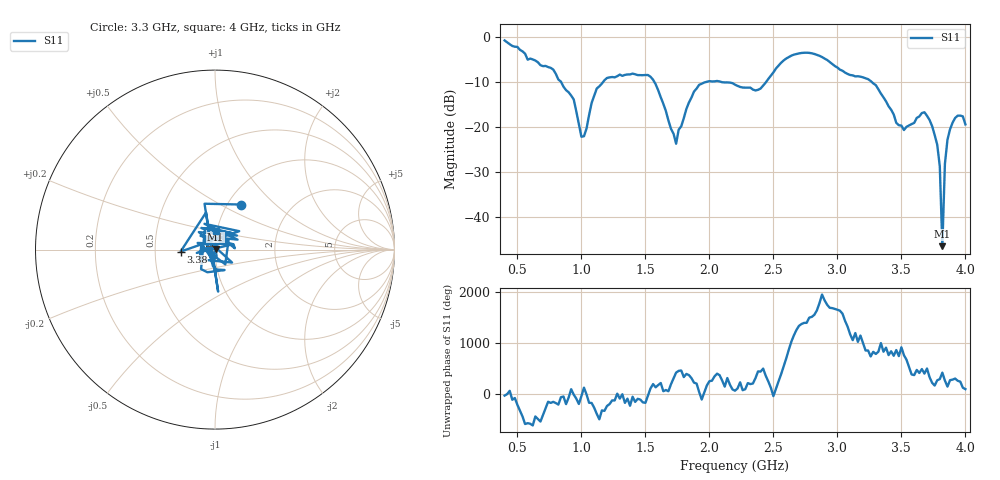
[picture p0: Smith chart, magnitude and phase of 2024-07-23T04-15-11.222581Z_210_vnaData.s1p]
!Created with skrf (http://scikit-rf.org).
# Hz S RI R 50.0
!freq ReS11 ImS11
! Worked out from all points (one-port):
!   181 points, 400 MHz to 4 GHz, reference 50 ohm
!   lowest |S11| = -46.6 dB at 3.82 GHz (marker M1), VSWR 1.01, Z = 50.3 + j0.37 ohm
!   |S11| at or under -10 dB: 1.57 GHz to 1.977 GHz (407.6 MHz wide, 23 % of centre); 2.092 GHz to 2.444 GHz (351.9 MHz wide, 15.5 % of centre); 3.268 GHz to end of sweep (the widest 3 of 4)
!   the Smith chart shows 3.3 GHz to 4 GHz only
!   S11 on the Smith chart (normalised r, x): 3.3 GHz: 1.16, +0.64; 3.38 GHz: 0.68, -0.02; 4 GHz: 0.99, +0.21
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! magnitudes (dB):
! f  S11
! 400 MHz  -0.8
! 780 MHz  -7.3
! 860 MHz  -11.1
! 940 MHz  -13.9
! 1 GHz  -22.2
! 1.02 GHz  -22.1
! 1.12 GHz  -11.5
! 1.3 GHz  -8.4
! 1.54 GHz  -8.9
! 1.74 GHz  -23.8
! 1.76 GHz  -20.6
! 1.92 GHz  -10.6
! 2.2 GHz  -10.6
! 2.4 GHz  -11.5
! 2.66 GHz  -3.9
! 3.1 GHz  -8.5
! 3.3 GHz  -10.7
! 3.38 GHz  -14.3
! 3.46 GHz  -19.1
! 3.56 GHz  -19.7
! 3.68 GHz  -16.7
! 3.76 GHz  -21.8
! 3.8 GHz  -28.8
! 3.82 GHz  -46.6
! 3.84 GHz  -28.2
! 3.86 GHz  -22.9
! 3.94 GHz  -17.5
! 4 GHz  -19.5
